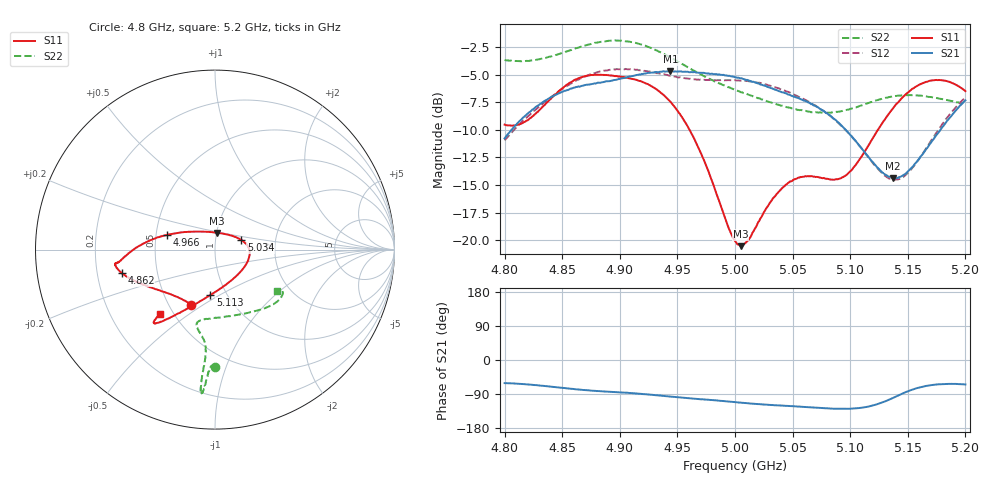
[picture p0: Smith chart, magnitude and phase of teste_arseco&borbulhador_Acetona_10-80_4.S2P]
! Network Analyzer HP8722D
! Hewlett-Packard
! Data name: Linha & Wilkinson
! Saver's name: Rodrigo Anjos
! Comments: Teste da utilização de aquisição
! continua pelo VNA HP8722D
! Time and date: 17/4/2025 14:23
!  Frequency  S11  S21  S12  S22
# HZ  S  MA R 50
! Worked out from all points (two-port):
!   401 points, 4.8 GHz to 5.2 GHz, reference 50 ohm
!   highest |S21| = -4.68 dB at 4.944 GHz (marker M1); lowest = -14.4 dB at 5.137 GHz (marker M2)
!   |S21| within 3 dB of the highest: 4.83 GHz to 5.067 GHz (236.8 MHz wide, 4.79 % of centre); 5.196527 GHz to end of sweep
!   lowest |S11| = -20.5 dB at 5.005 GHz (marker M3), VSWR 1.21, Z = 50.2 + j9.46 ohm
!   |S11| at or under -10 dB: 4.961 GHz to 5.124 GHz (163.5 MHz wide, 3.24 % of centre)
!   |S22| runs from -8.5 to -1.9 dB; largest |S21 - S12| = 0.87
!   S11 on the Smith chart (normalised r, x): 4.8 GHz: 0.64, -0.44; 4.862 GHz: 0.31, -0.11; 4.966 GHz: 0.57, +0.10; 5.034 GHz: 1.34, +0.15; 5.113 GHz: 0.84, -0.45; 5.2 GHz: 0.42, -0.39
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4.8e9  0.3342 -113.7  0.2895 -61.0  0.2836 -175.2  0.6556 -90.1
4.819e9  0.3478 -133.5  0.3707 -64.3  0.3589 -173.7  0.6498 -91.7
4.862e9  0.5359 -165.9  0.4953 -77.3  0.5287 -177.0  0.7422 -94.0
4.867e9  0.5481 -167.8  0.5007 -78.8  0.5435 -177.9  0.7548 -94.1
4.899e9  0.5515 -172.3  0.5378 -85.4  0.5955 175.4  0.8026 -95.5
4.934e9  0.474 -178.3  0.578 -93.7  0.5707 171.7  0.7152 -95.9
4.944e9  0.4239 177.2  0.5832 -96.5  0.5558 171.7  0.6736 -95.6
4.966e9  0.2781 162.9  0.5754 -102.2  0.5357 173.6  0.5808 -95.1
5e9  0.09935 101.5  0.548 -111.2  0.5315 176.1  0.4808 -99.2
5.005e9  0.09397 83.4  0.5419 -112.4  0.529 176.0  0.4686 -100.5
5.012e9  0.1007 60.3  0.5289 -114.4  0.5252 175.7  0.456 -101.7
5.034e9  0.1567 19.8  0.483 -119.3  0.4937 174.8  0.4161 -103.7
5.05e9  0.1867 3.6  0.4503 -122.0  0.4589 173.9  0.3958 -99.6
5.067e9  0.1951 -14.5  0.4144 -125.1  0.415 173.6  0.3806 -90.8
5.093e9  0.1926 -58.6  0.3284 -128.9  0.3266 174.1  0.3849 -70.6
5.113e9  0.2542 -95.7  0.2489 -124.5  0.2477 180.0  0.4136 -55.0
5.134e9  0.3769 -116.6  0.194 -104.3  0.19 -157.2  0.4459 -43.0
5.137e9  0.3945 -118.5  0.1912 -100.2  0.1883 -152.5  0.4485 -41.7
5.15e9  0.4666 -124.4  0.2048 -82.7  0.2016 -132.4  0.4543 -36.8
5.17e9  0.529 -129.0  0.2761 -66.4  0.2815 -112.6  0.4458 -32.0
5.184e9  0.5255 -130.3  0.3471 -63.1  0.3585 -107.4  0.4317 -31.1
5.2e9  0.4741 -130.7  0.4305 -64.5  0.443 -106.7  0.415 -33.4
